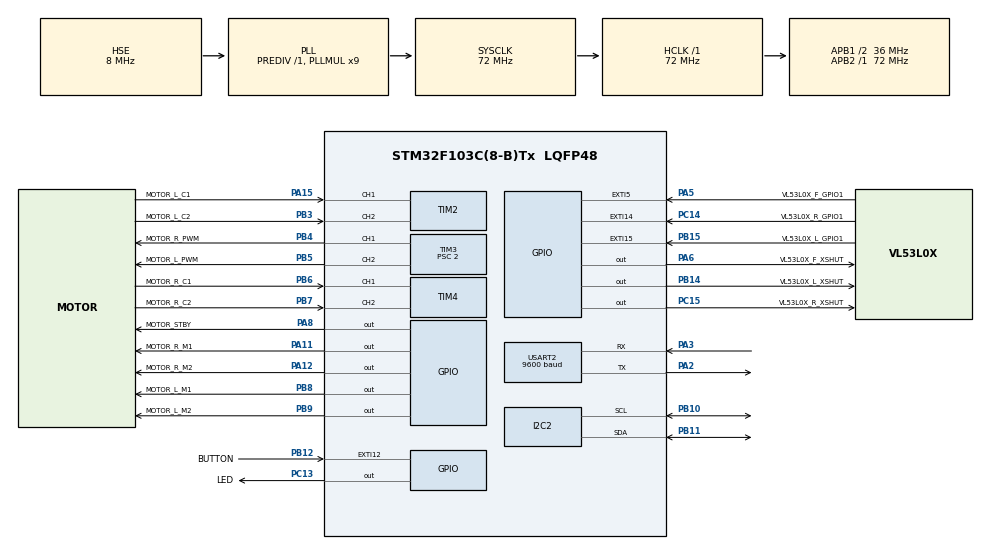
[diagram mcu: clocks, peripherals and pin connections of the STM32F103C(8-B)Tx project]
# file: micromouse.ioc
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Mcu.Family=STM32F1
Mcu.Name=STM32F103C(8-B)Tx
Mcu.Package=LQFP48
NVIC.EXTI15_10_IRQn=true\:0\:0\:false\:false\:true\:true\:true\:true
NVIC.EXTI9_5_IRQn=true\:0\:0\:false\:false\:true\:true\:true\:true
NVIC.PriorityGroup=NVIC_PRIORITYGROUP_4
PA11.GPIO_Label=MOTOR_R_M1
PA11.Signal=GPIO_Output
PA12.GPIO_Label=MOTOR_R_M2
PA12.Signal=GPIO_Output
PA13.Mode=Serial_Wire
PA13.Signal=SYS_JTMS-SWDIO
PA14.Mode=Serial_Wire
PA14.Signal=SYS_JTCK-SWCLK
PA15.GPIO_Label=MOTOR_L_C1
PA15.Signal=S_TIM2_CH1_ETR
PA2.Mode=Asynchronous
PA2.Signal=USART2_TX
PA3.Mode=Asynchronous
PA3.Signal=USART2_RX
PA5.GPIO_Label=VL53L0X_F_GPIO1
PA5.GPIO_ModeDefaultEXTI=GPIO_MODE_IT_FALLING
PA5.GPIO_PuPd=GPIO_PULLUP
PA5.Signal=GPXTI5
PA6.GPIO_Label=VL53L0X_F_XSHUT
PA6.Signal=GPIO_Output
PA8.GPIO_Label=MOTOR_STBY
PA8.Signal=GPIO_Output
PB10.Mode=I2C
PB10.Signal=I2C2_SCL
PB11.Mode=I2C
PB11.Signal=I2C2_SDA
PB12.GPIO_Label=BUTTON
PB12.GPIO_ModeDefaultEXTI=GPIO_MODE_IT_RISING
PB12.GPIO_PuPd=GPIO_PULLUP
PB12.Signal=GPXTI12
PB14.GPIO_Label=VL53L0X_L_XSHUT
PB14.Signal=GPIO_Output
PB15.GPIO_Label=VL53L0X_L_GPIO1
PB15.GPIO_ModeDefaultEXTI=GPIO_MODE_IT_FALLING
PB15.GPIO_PuPd=GPIO_PULLUP
PB15.Signal=GPXTI15
PB3.GPIO_Label=MOTOR_L_C2
PB3.Signal=S_TIM2_CH2
PB4.GPIO_Label=MOTOR_R_PWM
PB4.Signal=S_TIM3_CH1
PB5.GPIO_Label=MOTOR_L_PWM
PB5.Signal=S_TIM3_CH2
PB6.GPIO_Label=MOTOR_R_C1
PB6.Signal=S_TIM4_CH1
PB7.GPIO_Label=MOTOR_R_C2
PB7.Signal=S_TIM4_CH2
PB8.GPIO_Label=MOTOR_L_M1
PB8.Signal=GPIO_Output
PB9.GPIO_Label=MOTOR_L_M2
PB9.GPIO_Speed=GPIO_SPEED_FREQ_LOW
PB9.Signal=GPIO_Output
PC13-TAMPER-RTC.GPIO_Label=LED
PC13-TAMPER-RTC.Signal=GPIO_Output
PC14-OSC32_IN.GPIO_Label=VL53L0X_R_GPIO1
PC14-OSC32_IN.GPIO_ModeDefaultEXTI=GPIO_MODE_IT_FALLING
PC14-OSC32_IN.GPIO_PuPd=GPIO_PULLUP
PC14-OSC32_IN.Signal=GPXTI14
PC15-OSC32_OUT.GPIO_Label=VL53L0X_R_XSHUT
PC15-OSC32_OUT.Signal=GPIO_Output
PD0-OSC_IN.Mode=HSE-External-Oscillator
PD0-OSC_IN.Signal=RCC_OSC_IN
PD1-OSC_OUT.Mode=HSE-External-Oscillator
PD1-OSC_OUT.Signal=RCC_OSC_OUT
ProjectManager.HeapSize=0x200
ProjectManager.StackSize=0x400
ProjectManager.TargetToolchain=STM32CubeIDE
RCC.AHBFreq_Value=72000000
RCC.APB1CLKDivider=RCC_HCLK_DIV2
RCC.APB1Freq_Value=36000000
RCC.APB1TimFreq_Value=72000000
RCC.APB2Freq_Value=72000000
RCC.APB2TimFreq_Value=72000000
RCC.HCLKFreq_Value=72000000
RCC.PLLMUL=RCC_PLL_MUL9
RCC.PLLSourceVirtual=RCC_PLLSOURCE_HSE
RCC.SYSCLKFreq_VALUE=72000000
RCC.SYSCLKSource=RCC_SYSCLKSOURCE_PLLCLK
RCC.USBFreq_Value=72000000
SH.S_TIM2_CH1_ETR.0=TIM2_CH1,Encoder_Interface
SH.S_TIM2_CH2.0=TIM2_CH2,Encoder_Interface
SH.S_TIM3_CH1.0=TIM3_CH1,PWM Generation1 CH1
SH.S_TIM3_CH2.0=TIM3_CH2,PWM Generation2 CH2
SH.S_TIM4_CH1.0=TIM4_CH1,Encoder_Interface
SH.S_TIM4_CH2.0=TIM4_CH2,Encoder_Interface
TIM3.Channel-PWM\ Generation1\ CH1=TIM_CHANNEL_1
TIM3.Channel-PWM\ Generation2\ CH2=TIM_CHANNEL_2
TIM3.Period=999
TIM3.Prescaler=2
USART2.BaudRate=9600
USART2.VirtualMode=VM_ASYNC
VP_TIM3_VS_ClockSourceINT.Mode=Internal
board=custom

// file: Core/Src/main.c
/* USER CODE BEGIN Header */
/**
  ******************************************************************************
  * @file           : main.c
  * @brief          : Main program body
  ******************************************************************************
  * @attention
  *
  * Copyright (c) 2025 STMicroelectronics.
  * All rights reserved.
  *
  * This software is licensed under terms that can be found in the LICENSE file
  * in the root directory of this software component.
  * If no LICENSE file comes with this software, it is provided AS-IS.
  *
  ******************************************************************************
  */
/* USER CODE END Header */
#include "main.h"

/* USER CODE BEGIN Includes */
#include "stdio.h"
#include "stdbool.h"
#include "string.h"

#include "maze.h"
#include "sensor.h"
#include "controller.h"
/* USER CODE END Includes */

/* USER CODE BEGIN PD */
#define BUTTON_LONG_PRESS_TIME 2000

#define BUTTON_FLAG 0x01
#define VL53L0X_L_FLAG 0x02
#define VL53L0X_R_FLAG 0x04
#define VL53L0X_F_FLAG 0x08
/* USER CODE END PD */

I2C_HandleTypeDef hi2c2;

TIM_HandleTypeDef htim2;
TIM_HandleTypeDef htim3;
TIM_HandleTypeDef htim4;

UART_HandleTypeDef huart2;

/* USER CODE BEGIN PV */
SolveMode mode = WALL_FOLLOWING;
State state = IDLE;

volatile uint8_t flags = 0;
VL53L0XData l_dist_data, r_dist_data, f_dist_data;
volatile Direction curr_dir, prev_dir = NORTH;
volatile uint16_t dist[3];

uint32_t g_lastTime = 0;
volatile uint32_t update_prev_time = 0;
volatile uint32_t delay_turn_time = 0;

volatile RelativeDirection next_turn_dir = RIGHT;

// FLOODFILL
// Maze maze;
// MazeStack maze_stack;
/* USER CODE END PV */

void SystemClock_Config(void);

static void MX_GPIO_Init(void);

static void MX_TIM2_Init(void);

static void MX_TIM3_Init(void);

static void MX_TIM4_Init(void);

static void MX_I2C2_Init(void);

static void MX_USART2_UART_Init(void);

/* USER CODE BEGIN PFP */
static void I2C_Scanner(void);

static void VL53L0X_InitAll(void);

static void Controller_Test(void);

static bool IsWall(RelativeDirection dir);

bool is_reversing(Direction new_dir) {
    return new_dir == prev_dir;
}

/* USER CODE END PFP */

int main(void) {

    /* MCU Configuration--------------------------------------------------------*/

    /* Reset of all peripherals, Initializes the Flash interface and the Systick. */
    HAL_Init();

    /* Configure the system clock */
    SystemClock_Config();

    /* Initialize all configured peripherals */
    MX_GPIO_Init();
    MX_TIM2_Init();
    MX_TIM3_Init();
    MX_TIM4_Init();
    MX_I2C2_Init();
    MX_USART2_UART_Init();
    /* USER CODE BEGIN 2 */
    MPU6050_Init();
    VL53L0X_InitAll();
    I2C_Scanner();
    Controller_Init();

    /* USER CODE END 2 */

    /* Infinite loop */
    /* USER CODE BEGIN WHILE */
    // Calculating the delta time between loop
    const uint32_t now = HAL_GetTick();
    const uint32_t dt = now - g_lastTime;
    const float dts = (float) dt / 1000.0f;

    HAL_GPIO_WritePin(MOTOR_STBY_GPIO_Port, MOTOR_STBY_Pin, GPIO_PIN_SET);

    char msg[50];

    while (1) {
        if (flags & BUTTON_FLAG) {
            static volatile bool button_pressed = true;
            // static volatile uint32_t button_pressed_start = 0;
            // static volatile uint32_t button_pressed_duration = 0;

            if (button_pressed) {
                // button_pressed_duration = HAL_GetTick() - button_pressed_start;
                button_pressed = false;

                if (state == IDLE) {
                    state = MOVING;
                    HAL_GPIO_WritePin(MOTOR_STBY_GPIO_Port, MOTOR_STBY_Pin, GPIO_PIN_SET);
                    HAL_TIM_PWM_Start(&htim3, MOTOR_L_PWM_CHANNEL);
                    HAL_TIM_PWM_Start(&htim3, MOTOR_R_PWM_CHANNEL);
                } else {
                    state = IDLE;
                    HAL_GPIO_WritePin(MOTOR_STBY_GPIO_Port, MOTOR_STBY_Pin, GPIO_PIN_RESET);
                    HAL_TIM_PWM_Stop(&htim3, MOTOR_L_PWM_CHANNEL);
                    HAL_TIM_PWM_Stop(&htim3, MOTOR_R_PWM_CHANNEL);
                }
            } else {
                button_pressed = true;
                // button_pressed_start = HAL_GetTick();
            }

            flags &= ~BUTTON_FLAG;
            continue;
        }

        if (state == IDLE) {
            HAL_GPIO_WritePin(LED_GPIO_Port, LED_Pin, GPIO_PIN_SET);
            HAL_Delay(500);
            HAL_GPIO_WritePin(LED_GPIO_Port, LED_Pin, GPIO_PIN_RESET);
            HAL_Delay(500);
            continue;
        }

        HAL_GPIO_WritePin(LED_GPIO_Port, LED_Pin, GPIO_PIN_RESET);

        if (state == TURNING) {
            Controller_UpdateTurning(dts);
            continue;
        }

        if (flags & VL53L0X_L_FLAG) {
            VL53L0X_SetAddr(VL53L0X_L_ADDR);
            l_dist = VL53L0X_ReadRangeContinuousMillimeters(&l_dist_data) + VL53L0X_L_OFFSET;
            VL53L0X_ClearInterrupt();
            flags &= ~VL53L0X_L_FLAG;
            // sprintf(msg, "Left Dist: %d\n", l_dist);
            // HAL_UART_Transmit(&huart2, (uint8_t *) msg, strlen(msg), HAL_MAX_DELAY);
        }
        if (flags & VL53L0X_R_FLAG) {
            VL53L0X_SetAddr(VL53L0X_R_ADDR);
            r_dist = VL53L0X_ReadRangeContinuousMillimeters(&r_dist_data) + VL53L0X_R_OFFSET;
            VL53L0X_ClearInterrupt();
            flags &= ~VL53L0X_R_FLAG;
            // sprintf(msg, "Right Distance: %d\n", r_dist);
            // HAL_UART_Transmit(&huart2, (uint8_t *) msg, strlen(msg), HAL_MAX_DELAY);
        }
        if (flags & VL53L0X_F_FLAG) {
            VL53L0X_SetAddr(VL53L0X_F_ADDR);
            f_dist = VL53L0X_ReadRangeContinuousMillimeters(&f_dist_data) + VL53L0X_F_OFFSET;
            VL53L0X_ClearInterrupt();
            flags &= ~VL53L0X_F_FLAG;
            // sprintf(msg, "Front Distance: %d\n", f_dist);
            // HAL_UART_Transmit(&huart2, (uint8_t *) msg, strlen(msg), HAL_MAX_DELAY);
        }

        // if (IsGoal()) {
        //     state = IDLE;
        //     Controller_Reset();
        //     continue;
        // }

        if (state == MOVING) {
            if (f_dist <= F_WALL_THRESHOLD - 10) Controller_Reset();
            if (HAL_GetTick() >= update_prev_time) prev_dir = curr_dir;
        }

        if (state == DELAY_FOR_TURNING) {
            if (f_dist <= F_WALL_THRESHOLD - 10) Controller_Reset();
            if (HAL_GetTick() > delay_turn_time) {
                Controller_Turn(next_turn_dir);
            }
            continue;
        }

        if (mode == WALL_FOLLOWING) {
            // Priority: left > forward > right > (avoid back)
            if (!IsWall(LEFT)) {
                Direction next_dir = Convert_RelativeDirection(LEFT);
                if (next_dir != Direction_Opposite(prev_dir)) {
                    state = DELAY_FOR_TURNING;
                    next_turn_dir = LEFT;
                    delay_turn_time = HAL_GetTick() + 550;
                    prev_dir = curr_dir;
                    curr_dir = next_dir;
                    continue;
                }

                // sprintf(msg, "Prev Dir: %d, New Dir: %d\n", prev_dir, curr_dir);
                // HAL_UART_Transmit(&huart2, (uint8_t *) msg, strlen(msg), HAL_MAX_DELAY);
            }

            if (!IsWall(FORWARD)) {
                Controller_UpdateCentering(dts);
                continue;
            }

            if (!IsWall(RIGHT)) {
                Direction next_dir = Convert_RelativeDirection(RIGHT);
                if (next_dir != Direction_Opposite(prev_dir)) {
                    state = DELAY_FOR_TURNING;
                    next_turn_dir = RIGHT;
                    delay_turn_time = HAL_GetTick() + 550;
                    prev_dir = curr_dir;
                    curr_dir = next_dir;
                    continue;
                }

                // sprintf(msg, "Prev Dir: %d, New Dir: %d\n", prev_dir, curr_dir);
                // HAL_UART_Transmit(&huart2, (uint8_t *) msg, strlen(msg), HAL_MAX_DELAY);
            }

            // Nowhere to go — turn around
            Direction next_dir = Convert_RelativeDirection(BACKWARD);
            Controller_Turn(BACKWARD);
            prev_dir = curr_dir;
            curr_dir = next_dir;
        }
        /* USER CODE END WHILE */

    }
}

void SystemClock_Config(void) {
    RCC_OscInitTypeDef RCC_OscInitStruct = {0};
    RCC_ClkInitTypeDef RCC_ClkInitStruct = {0};

    /** Initializes the RCC Oscillators according to the specified parameters
    * in the RCC_OscInitTypeDef structure.
    */
    RCC_OscInitStruct.OscillatorType = RCC_OSCILLATORTYPE_HSE;
    RCC_OscInitStruct.HSEState = RCC_HSE_ON;
    RCC_OscInitStruct.HSEPredivValue = RCC_HSE_PREDIV_DIV1;
    RCC_OscInitStruct.HSIState = RCC_HSI_ON;
    RCC_OscInitStruct.PLL.PLLState = RCC_PLL_ON;
    RCC_OscInitStruct.PLL.PLLSource = RCC_PLLSOURCE_HSE;
    RCC_OscInitStruct.PLL.PLLMUL = RCC_PLL_MUL9;
    if (HAL_RCC_OscConfig(&RCC_OscInitStruct) != HAL_OK) {
        Error_Handler();
    }

    /** Initializes the CPU, AHB and APB buses clocks
    */
    RCC_ClkInitStruct.ClockType = RCC_CLOCKTYPE_HCLK | RCC_CLOCKTYPE_SYSCLK
                                  | RCC_CLOCKTYPE_PCLK1 | RCC_CLOCKTYPE_PCLK2;
    RCC_ClkInitStruct.SYSCLKSource = RCC_SYSCLKSOURCE_PLLCLK;
    RCC_ClkInitStruct.AHBCLKDivider = RCC_SYSCLK_DIV1;
    RCC_ClkInitStruct.APB1CLKDivider = RCC_HCLK_DIV2;
    RCC_ClkInitStruct.APB2CLKDivider = RCC_HCLK_DIV1;

    if (HAL_RCC_ClockConfig(&RCC_ClkInitStruct, FLASH_LATENCY_2) != HAL_OK) {
        Error_Handler();
    }
}

static void MX_I2C2_Init(void) {

    hi2c2.Instance = I2C2;
    hi2c2.Init.ClockSpeed = 100000;
    hi2c2.Init.DutyCycle = I2C_DUTYCYCLE_2;
    hi2c2.Init.OwnAddress1 = 0;
    hi2c2.Init.AddressingMode = I2C_ADDRESSINGMODE_7BIT;
    hi2c2.Init.DualAddressMode = I2C_DUALADDRESS_DISABLE;
    hi2c2.Init.OwnAddress2 = 0;
    hi2c2.Init.GeneralCallMode = I2C_GENERALCALL_DISABLE;
    hi2c2.Init.NoStretchMode = I2C_NOSTRETCH_DISABLE;
    if (HAL_I2C_Init(&hi2c2) != HAL_OK) {
        Error_Handler();
    }
}

static void MX_TIM2_Init(void) {

    TIM_Encoder_InitTypeDef sConfig = {0};
    TIM_MasterConfigTypeDef sMasterConfig = {0};

    htim2.Instance = TIM2;
    htim2.Init.Prescaler = 0;
    htim2.Init.CounterMode = TIM_COUNTERMODE_UP;
    htim2.Init.Period = 65535;
    htim2.Init.ClockDivision = TIM_CLOCKDIVISION_DIV1;
    htim2.Init.AutoReloadPreload = TIM_AUTORELOAD_PRELOAD_DISABLE;
    sConfig.EncoderMode = TIM_ENCODERMODE_TI1;
    sConfig.IC1Polarity = TIM_ICPOLARITY_RISING;
    sConfig.IC1Selection = TIM_ICSELECTION_DIRECTTI;
    sConfig.IC1Prescaler = TIM_ICPSC_DIV1;
    sConfig.IC1Filter = 0;
    sConfig.IC2Polarity = TIM_ICPOLARITY_RISING;
    sConfig.IC2Selection = TIM_ICSELECTION_DIRECTTI;
    sConfig.IC2Prescaler = TIM_ICPSC_DIV1;
    sConfig.IC2Filter = 0;
    if (HAL_TIM_Encoder_Init(&htim2, &sConfig) != HAL_OK) {
        Error_Handler();
    }
    sMasterConfig.MasterOutputTrigger = TIM_TRGO_RESET;
    sMasterConfig.MasterSlaveMode = TIM_MASTERSLAVEMODE_DISABLE;
    if (HAL_TIMEx_MasterConfigSynchronization(&htim2, &sMasterConfig) != HAL_OK) {
        Error_Handler();
    }
}

static void MX_TIM3_Init(void) {

    TIM_ClockConfigTypeDef sClockSourceConfig = {0};
    TIM_MasterConfigTypeDef sMasterConfig = {0};
    TIM_OC_InitTypeDef sConfigOC = {0};

    htim3.Instance = TIM3;
    htim3.Init.Prescaler = 2;
    htim3.Init.CounterMode = TIM_COUNTERMODE_UP;
    htim3.Init.Period = 999;
    htim3.Init.ClockDivision = TIM_CLOCKDIVISION_DIV1;
    htim3.Init.AutoReloadPreload = TIM_AUTORELOAD_PRELOAD_DISABLE;
    if (HAL_TIM_Base_Init(&htim3) != HAL_OK) {
        Error_Handler();
    }
    sClockSourceConfig.ClockSource = TIM_CLOCKSOURCE_INTERNAL;
    if (HAL_TIM_ConfigClockSource(&htim3, &sClockSourceConfig) != HAL_OK) {
        Error_Handler();
    }
    if (HAL_TIM_PWM_Init(&htim3) != HAL_OK) {
        Error_Handler();
    }
    sMasterConfig.MasterOutputTrigger = TIM_TRGO_RESET;
    sMasterConfig.MasterSlaveMode = TIM_MASTERSLAVEMODE_DISABLE;
    if (HAL_TIMEx_MasterConfigSynchronization(&htim3, &sMasterConfig) != HAL_OK) {
        Error_Handler();
    }
    sConfigOC.OCMode = TIM_OCMODE_PWM1;
    sConfigOC.Pulse = 0;
    sConfigOC.OCPolarity = TIM_OCPOLARITY_HIGH;
    sConfigOC.OCFastMode = TIM_OCFAST_DISABLE;
    if (HAL_TIM_PWM_ConfigChannel(&htim3, &sConfigOC, TIM_CHANNEL_1) != HAL_OK) {
        Error_Handler();
    }
    if (HAL_TIM_PWM_ConfigChannel(&htim3, &sConfigOC, TIM_CHANNEL_2) != HAL_OK) {
        Error_Handler();
    }
    HAL_TIM_MspPostInit(&htim3);
}

static void MX_TIM4_Init(void) {

    TIM_Encoder_InitTypeDef sConfig = {0};
    TIM_MasterConfigTypeDef sMasterConfig = {0};

    htim4.Instance = TIM4;
    htim4.Init.Prescaler = 0;
    htim4.Init.CounterMode = TIM_COUNTERMODE_UP;
    htim4.Init.Period = 65535;
    htim4.Init.ClockDivision = TIM_CLOCKDIVISION_DIV1;
    htim4.Init.AutoReloadPreload = TIM_AUTORELOAD_PRELOAD_DISABLE;
    sConfig.EncoderMode = TIM_ENCODERMODE_TI1;
    sConfig.IC1Polarity = TIM_ICPOLARITY_RISING;
    sConfig.IC1Selection = TIM_ICSELECTION_DIRECTTI;
    sConfig.IC1Prescaler = TIM_ICPSC_DIV1;
    sConfig.IC1Filter = 0;
    sConfig.IC2Polarity = TIM_ICPOLARITY_RISING;
    sConfig.IC2Selection = TIM_ICSELECTION_DIRECTTI;
    sConfig.IC2Prescaler = TIM_ICPSC_DIV1;
    sConfig.IC2Filter = 0;
    if (HAL_TIM_Encoder_Init(&htim4, &sConfig) != HAL_OK) {
        Error_Handler();
    }
    sMasterConfig.MasterOutputTrigger = TIM_TRGO_RESET;
    sMasterConfig.MasterSlaveMode = TIM_MASTERSLAVEMODE_DISABLE;
    if (HAL_TIMEx_MasterConfigSynchronization(&htim4, &sMasterConfig) != HAL_OK) {
        Error_Handler();
    }
}

static void MX_USART2_UART_Init(void) {

    huart2.Instance = USART2;
    huart2.Init.BaudRate = 9600;
    huart2.Init.WordLength = UART_WORDLENGTH_8B;
    huart2.Init.StopBits = UART_STOPBITS_1;
    huart2.Init.Parity = UART_PARITY_NONE;
    huart2.Init.Mode = UART_MODE_TX_RX;
    huart2.Init.HwFlowCtl = UART_HWCONTROL_NONE;
    huart2.Init.OverSampling = UART_OVERSAMPLING_16;
    if (HAL_UART_Init(&huart2) != HAL_OK) {
        Error_Handler();
    }
}

static void MX_GPIO_Init(void) {
    GPIO_InitTypeDef GPIO_InitStruct = {0};

    /* GPIO Ports Clock Enable */
    __HAL_RCC_GPIOC_CLK_ENABLE();
    __HAL_RCC_GPIOD_CLK_ENABLE();
    __HAL_RCC_GPIOA_CLK_ENABLE();
    __HAL_RCC_GPIOB_CLK_ENABLE();

    /*Configure GPIO pin Output Level */
    HAL_GPIO_WritePin(GPIOC, LED_Pin | VL53L0X_R_XSHUT_Pin, GPIO_PIN_RESET);

    /*Configure GPIO pin Output Level */
    HAL_GPIO_WritePin(GPIOA, VL53L0X_F_XSHUT_Pin | MOTOR_STBY_Pin | MOTOR_R_M1_Pin | MOTOR_R_M2_Pin, GPIO_PIN_RESET);

    /*Configure GPIO pin Output Level */
    HAL_GPIO_WritePin(GPIOB, VL53L0X_L_XSHUT_Pin | MOTOR_L_M1_Pin | MOTOR_L_M2_Pin, GPIO_PIN_RESET);

    /*Configure GPIO pins : LED_Pin VL53L0X_R_XSHUT_Pin */
    GPIO_InitStruct.Pin = LED_Pin | VL53L0X_R_XSHUT_Pin;
    GPIO_InitStruct.Mode = GPIO_MODE_OUTPUT_PP;
    GPIO_InitStruct.Pull = GPIO_NOPULL;
    GPIO_InitStruct.Speed = GPIO_SPEED_FREQ_LOW;
    HAL_GPIO_Init(GPIOC, &GPIO_InitStruct);

    /*Configure GPIO pin : VL53L0X_R_GPIO1_Pin */
    GPIO_InitStruct.Pin = VL53L0X_R_GPIO1_Pin;
    GPIO_InitStruct.Mode = GPIO_MODE_IT_FALLING;
    GPIO_InitStruct.Pull = GPIO_PULLUP;
    HAL_GPIO_Init(VL53L0X_R_GPIO1_GPIO_Port, &GPIO_InitStruct);

    /*Configure GPIO pin : VL53L0X_F_GPIO1_Pin */
    GPIO_InitStruct.Pin = VL53L0X_F_GPIO1_Pin;
    GPIO_InitStruct.Mode = GPIO_MODE_IT_FALLING;
    GPIO_InitStruct.Pull = GPIO_PULLUP;
    HAL_GPIO_Init(VL53L0X_F_GPIO1_GPIO_Port, &GPIO_InitStruct);

    /*Configure GPIO pins : VL53L0X_F_XSHUT_Pin MOTOR_STBY_Pin MOTOR_R_M1_Pin MOTOR_R_M2_Pin */
    GPIO_InitStruct.Pin = VL53L0X_F_XSHUT_Pin | MOTOR_STBY_Pin | MOTOR_R_M1_Pin | MOTOR_R_M2_Pin;
    GPIO_InitStruct.Mode = GPIO_MODE_OUTPUT_PP;
    GPIO_InitStruct.Pull = GPIO_NOPULL;
    GPIO_InitStruct.Speed = GPIO_SPEED_FREQ_LOW;
    HAL_GPIO_Init(GPIOA, &GPIO_InitStruct);

    /*Configure GPIO pin : BUTTON_Pin */
    GPIO_InitStruct.Pin = BUTTON_Pin;
    GPIO_InitStruct.Mode = GPIO_MODE_IT_RISING;
    GPIO_InitStruct.Pull = GPIO_PULLUP;
    HAL_GPIO_Init(BUTTON_GPIO_Port, &GPIO_InitStruct);

    /*Configure GPIO pins : VL53L0X_L_XSHUT_Pin MOTOR_L_M1_Pin MOTOR_L_M2_Pin */
    GPIO_InitStruct.Pin = VL53L0X_L_XSHUT_Pin | MOTOR_L_M1_Pin | MOTOR_L_M2_Pin;
    GPIO_InitStruct.Mode = GPIO_MODE_OUTPUT_PP;
    GPIO_InitStruct.Pull = GPIO_NOPULL;
    GPIO_InitStruct.Speed = GPIO_SPEED_FREQ_LOW;
    HAL_GPIO_Init(GPIOB, &GPIO_InitStruct);

    /*Configure GPIO pin : VL53L0X_L_GPIO1_Pin */
    GPIO_InitStruct.Pin = VL53L0X_L_GPIO1_Pin;
    GPIO_InitStruct.Mode = GPIO_MODE_IT_FALLING;
    GPIO_InitStruct.Pull = GPIO_PULLUP;
    HAL_GPIO_Init(VL53L0X_L_GPIO1_GPIO_Port, &GPIO_InitStruct);

    /* EXTI interrupt init*/
    HAL_NVIC_SetPriority(EXTI9_5_IRQn, 0, 0);
    HAL_NVIC_EnableIRQ(EXTI9_5_IRQn);

    HAL_NVIC_SetPriority(EXTI15_10_IRQn, 0, 0);
    HAL_NVIC_EnableIRQ(EXTI15_10_IRQn);

}

/* USER CODE BEGIN 4 */
static void I2C_Scanner(void) {
    char msg[64];
    for (uint8_t addr = 1; addr < 128; addr++) {
        if (HAL_I2C_IsDeviceReady(&hi2c2, addr << 1, 1, HAL_MAX_DELAY) == HAL_OK) {
            sprintf(msg, "I2C device found at address 0x%02X\n", addr);
            HAL_UART_Transmit(&huart2, (uint8_t *) msg, strlen(msg), HAL_MAX_DELAY);
        }
    }
    sprintf(msg, "I2C scan complete.\n");
    HAL_UART_Transmit(&huart2, (uint8_t *) msg, strlen(msg), HAL_MAX_DELAY);
}

static void VL53L0X_Config(const uint8_t addr, const bool front) {
    VL53L0X_Init(true, addr);
    VL53L0X_SetSignalRateLimit(10);
    VL53L0X_SetVcselPulsePeriod(VcselPeriodPreRange, 10);
    VL53L0X_SetVcselPulsePeriod(VcselPeriodFinalRange, 14);
    VL53L0X_SetMeasurementTimingBudget(300 * 1000UL);
    VL53L0X_StartContinuous(0);
}

static void VL53L0X_InitAll(void) {
    HAL_GPIO_WritePin(VL53L0X_L_XSHUT_GPIO_Port, VL53L0X_L_XSHUT_Pin, GPIO_PIN_RESET);
    HAL_GPIO_WritePin(VL53L0X_R_XSHUT_GPIO_Port, VL53L0X_R_XSHUT_Pin, GPIO_PIN_RESET);
    HAL_GPIO_WritePin(VL53L0X_F_XSHUT_GPIO_Port, VL53L0X_F_XSHUT_Pin, GPIO_PIN_RESET);
    HAL_Delay(10);

    HAL_GPIO_WritePin(VL53L0X_L_XSHUT_GPIO_Port, VL53L0X_L_XSHUT_Pin, GPIO_PIN_SET);
    HAL_Delay(10);
    VL53L0X_Config(VL53L0X_L_ADDR, false);

    HAL_GPIO_WritePin(VL53L0X_R_XSHUT_GPIO_Port, VL53L0X_R_XSHUT_Pin, GPIO_PIN_SET);
    HAL_Delay(10);
    VL53L0X_Config(VL53L0X_R_ADDR, false);

    HAL_GPIO_WritePin(VL53L0X_F_XSHUT_GPIO_Port, VL53L0X_F_XSHUT_Pin, GPIO_PIN_SET);
    HAL_Delay(10);
    VL53L0X_Config(VL53L0X_F_ADDR, true);
}

static bool IsWall(const RelativeDirection dir) {
    switch (dir) {
        case FORWARD:
            return f_dist <= F_WALL_THRESHOLD;
        case LEFT:
            return l_dist <= WALL_THRESHOLD;
        case RIGHT:
            return r_dist <= WALL_THRESHOLD;
        default:
            return false;
    }
}

static bool IsGoal(void) {
    if (mode == WALL_FOLLOWING) {
        return !IsWall(FORWARD) && !IsWall(LEFT) && !IsWall(RIGHT);
    }
}

void HAL_GPIO_EXTI_Callback(const uint16_t GPIO_Pin) {
    if (GPIO_Pin == BUTTON_Pin) flags |= BUTTON_FLAG;
    if (GPIO_Pin == VL53L0X_L_GPIO1_Pin) flags |= VL53L0X_L_FLAG;
    if (GPIO_Pin == VL53L0X_R_GPIO1_Pin) flags |= VL53L0X_R_FLAG;
    if (GPIO_Pin == VL53L0X_F_GPIO1_Pin) flags |= VL53L0X_F_FLAG;
}

RelativeDirection Convert_Direction(const Direction dir) {
    switch (prev_dir) {
        case NORTH:
            if (dir == NORTH)
                return FORWARD;
            if (dir == EAST)
                return RIGHT;
            if (dir == SOUTH)
                return BACKWARD;
            return LEFT;
        case EAST:
            if (dir == NORTH)
                return LEFT;
            if (dir == EAST)
                return FORWARD;
            if (dir == SOUTH)
                return RIGHT;
            return BACKWARD;
        case SOUTH:
            if (dir == NORTH)
                return BACKWARD;
            if (dir == EAST)
                return LEFT;
            if (dir == SOUTH)
                return FORWARD;
            return RIGHT;
        case WEST:
            if (dir == NORTH)
                return RIGHT;
            if (dir == EAST)
                return BACKWARD;
            if (dir == SOUTH)
                return LEFT;
            return FORWARD;
    }

    return FORWARD;
}

Direction Convert_RelativeDirection(const RelativeDirection dir) {
    switch (curr_dir) {
        case NORTH:
            if (dir == FORWARD) return NORTH;
            if (dir == RIGHT) return EAST;
            if (dir == BACKWARD)return SOUTH;
            if (dir == LEFT) return WEST;
            break;

        case EAST:
            if (dir == FORWARD) return EAST;
            if (dir == RIGHT) return SOUTH;
            if (dir == BACKWARD)return WEST;
            if (dir == LEFT) return NORTH;
            break;
        case SOUTH:
            if (dir == FORWARD) return SOUTH;
            if (dir == RIGHT) return WEST;
            if (dir == BACKWARD)return NORTH;
            if (dir == LEFT) return EAST;
            break;

        case WEST:
            if (dir == FORWARD) return WEST;
            if (dir == RIGHT) return NORTH;
            if (dir == BACKWARD)return EAST;
            if (dir == LEFT) return SOUTH;
            break;
    }

    return NORTH;
}

Direction Direction_Opposite(Direction dir) {
    return (dir + 2) % 4;
}

/* TEST FUNCTION ------*/
void Controller_Test(void) {
    // Test Left
    Controller_SetSpeed(MOTOR_L, 25);
    HAL_Delay(1000);
    Controller_SetSpeed(MOTOR_L, -25);
    HAL_Delay(1000);
    Controller_SetSpeed(MOTOR_L, 0);

    // Test Right
    Controller_SetSpeed(MOTOR_R, 25);
    HAL_Delay(1000);
    Controller_SetSpeed(MOTOR_R, -25);
    HAL_Delay(1000);
    Controller_SetSpeed(MOTOR_R, 0);

    // Test both
    HAL_Delay(1000);
    Controller_SetSpeed(MOTOR_L, 25);
    Controller_SetSpeed(MOTOR_R, 25);
}

/* USER CODE END 4 */

void Error_Handler(void) {
    __disable_irq();
    while (1) {
    }
}
